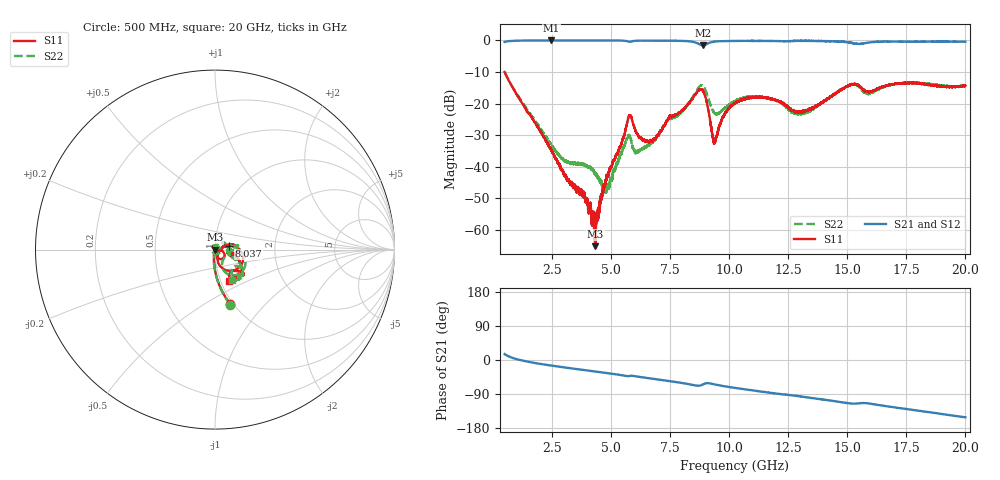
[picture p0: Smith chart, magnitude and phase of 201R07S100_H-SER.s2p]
!{201R07S100}
!Johanson Technology Inc.
!www.johansontechnology.com
!Test Board Conditions:
!Substrate Type  RO4350B
!Substrate Thickness  10 mil
!Substrate Dk  3.66
!TL Type: GCPW
!TL Trace Width  21 mil
!TL Gap  20 mil
!Electrode orientation  Horizontal
!DUT TOPOLOGY	SERIES
!Mounting Pad LxW  16x21 mil
!Agilent Technologies,N5230A,MY45001966,A.07.50.67
!Agilent N5230A: A.07.50.67
! Created Mon Mar  9 15:48:25 2020
# mhz S ma R 50
! 2 Port Network Data from SP1.SP block
! freq  magS11  angS11  magS21  angS21  magS12  angS12  magS22  angS22
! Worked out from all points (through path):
!   19501 points, 500 MHz to 20 GHz, reference 50 ohm
!   highest |S21| = -0.02 dB at 2.478 GHz (marker M1); lowest = -1.6 dB at 8.887 GHz (marker M2)
!   group delay of S21, straight-line fit = 21.5 ps
!   lowest |S11| = -65.1 dB at 4.34 GHz (marker M3), VSWR 1.00, Z = 50 - j0.0538 ohm
!   |S11| at or under -10 dB: start of sweep to end of sweep
!   |S22| runs from -48.4 to -9.9 dB; largest |S21 - S12| = 0.015
!   S11 on the Smith chart (normalised r, x): 500 MHz: 0.97, -0.65; 8.037 GHz: 1.16, +0.05; 20 GHz: 1.09, -0.40
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500  0.3162 -74.5  0.9461 15.6  0.9475 15.6  0.3186 -74.4
2478  0.01811 -106.6  0.9975 -14.7  0.9961 -14.7  0.0221 -90.7
3080  0.007199 -129.1  0.9967 -20.0  0.9965 -20.0  0.01236 -64.8
3750  0.004008 -168.8  0.9969 -25.6  0.9952 -25.6  0.01107 -37.6
4340  0.0005541 -76.2  0.9963 -30.4  0.9953 -30.4  0.007793 -19.5
4850  0.007207 -21.0  0.9952 -34.7  0.9962 -34.7  0.004888 44.1
5771  0.06447 -35.1  0.9518 -42.2  0.9516 -42.2  0.03175 -18.9
6104  0.03402 -70.5  0.988 -43.4  0.9884 -43.4  0.01748 177.6
6538  0.02536 -40.6  0.9929 -47.5  0.9932 -47.5  0.02153 115.9
7000  0.0321 1.1  0.9928 -51.5  0.9927 -51.5  0.03087 69.5
8037  0.07881 15.0  0.9813 -60.9  0.9795 -60.9  0.0768 23.0
8887  0.1606 -44.1  0.8321 -64.6  0.8336 -64.5  0.1911 -44.7
9382  0.02338 -28.0  0.9558 -64.3  0.9557 -64.2  0.07138 -48.1
9782  0.06467 21.1  0.9761 -69.0  0.9742 -69.0  0.08279 -11.5
10250  0.1016 17.2  0.981 -73.5  0.9801 -73.5  0.1101 1.4
11341  0.1235 -1.9  0.9812 -83.2  0.9779 -83.0  0.1263 10.5
12831  0.07642 -16.2  0.979 -94.7  0.9831 -94.5  0.06982 -0.4
13500  0.08441 -8.5  0.9838 -100.4  0.9829 -100.4  0.08029 -17.7
15145  0.1977 -43.2  0.9124 -114.5  0.9166 -114.6  0.1982 -40.2
15874  0.1537 -55.4  0.9216 -114.4  0.9213 -114.3  0.1419 -45.0
16750  0.1964 -40.5  0.9612 -122.6  0.9539 -122.9  0.1948 -37.5
20000  0.1905 -66.7  0.9531 -151.3  0.954 -151.1  0.1945 -61.0
